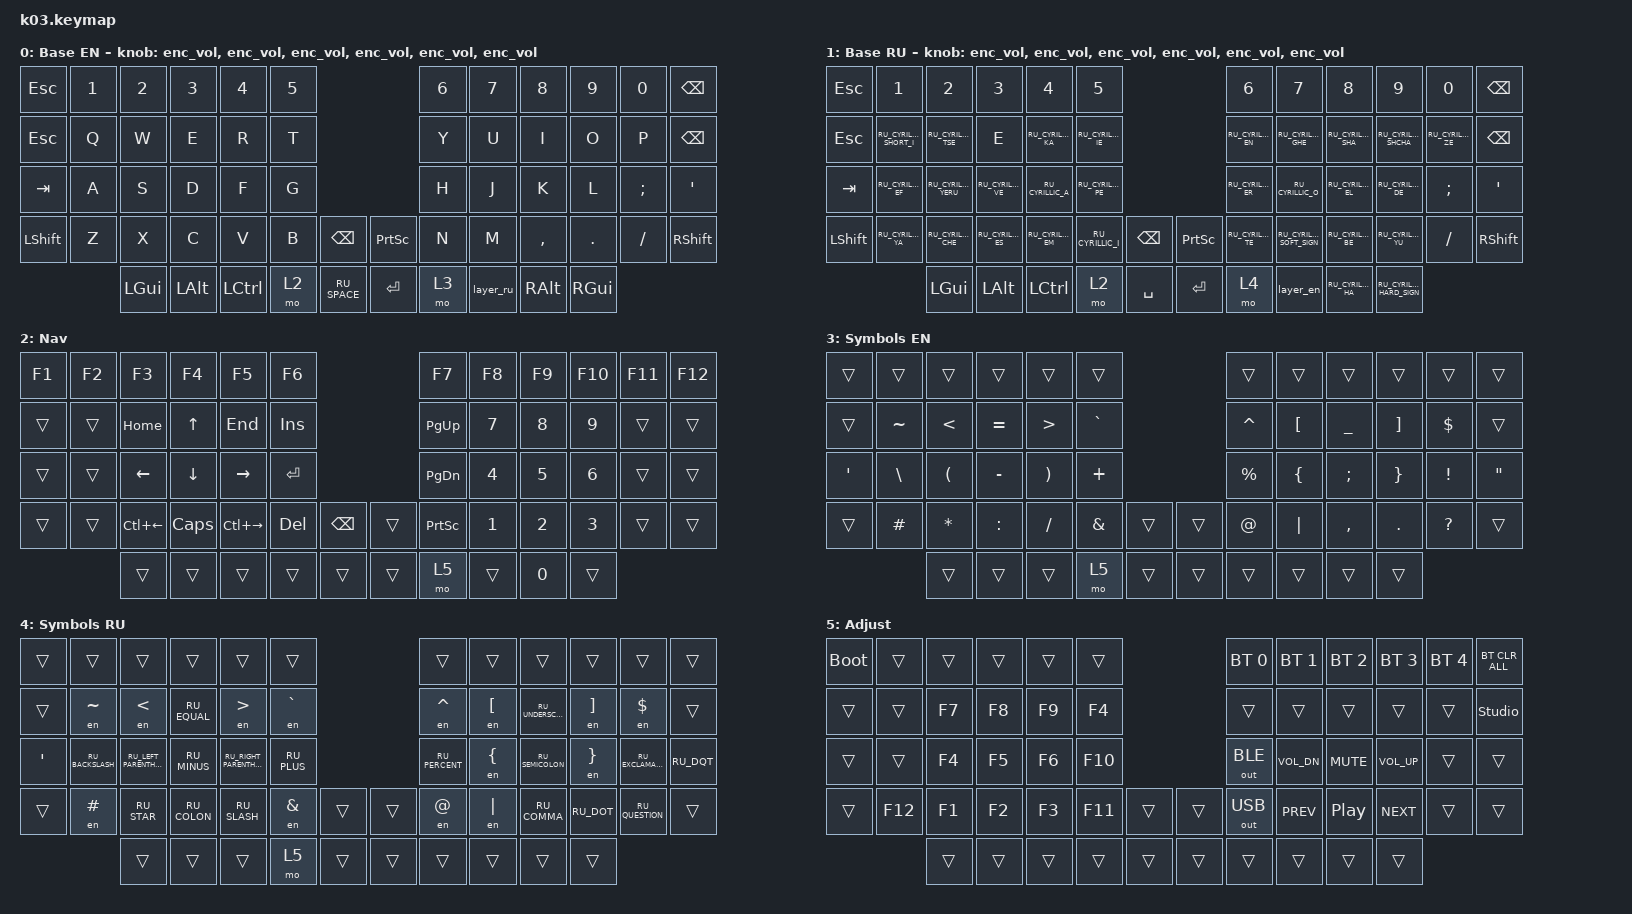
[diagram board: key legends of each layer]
#include "keys_ru.h"
#include <behaviors.dtsi>
#include <dt-bindings/zmk/bt.h>
#include <dt-bindings/zmk/keys.h>
#include <dt-bindings/zmk/outputs.h>

/ {
    behaviors {
        enc_vol: enc_vol {
            compatible = "zmk,behavior-sensor-rotate";
            label = "ENC_VOL";
            #sensor-binding-cells = <0>;
            bindings = <&kp C_VOL_UP>, <&kp C_VOL_DN>;
        };

        en_space: en_space {
            compatible = "zmk,behavior-mod-morph";
            label = "EN_SPACE";
            bindings = <&kp SPACE>, <&layer_en>;

            #binding-cells = <0>;
            mods = <(MOD_LGUI)>;
        };

        ru_space: ru_space {
            compatible = "zmk,behavior-mod-morph";
            label = "RU_SPACE";
            bindings = <&kp SPACE>, <&layer_ru>;

            #binding-cells = <0>;
            mods = <(MOD_LGUI)>;
        };
    };

    macros {
        layer_en: layer_en {
            compatible = "zmk,behavior-macro";
            #binding-cells = <0>;
            bindings = <&to_en &to 0>;
            label = "LAYER_EN";
        };

        layer_ru: layer_ru {
            compatible = "zmk,behavior-macro";
            #binding-cells = <0>;
            bindings = <&to_ru &to 1>;
            label = "LAYER_RU";
        };

        en: to_en {
            compatible = "zmk,behavior-macro-one-param";
            #binding-cells = <1>;
            bindings =
                <&to_en>,
                <&macro_press>,
                <&macro_param_1to1 &kp MACRO_PLACEHOLDER>,
                <&macro_pause_for_release>,
                <&macro_release>,
                <&macro_param_1to1 &kp MACRO_PLACEHOLDER>,
                <&macro_tap>,
                <&to_ru>;

            label = "TO_EN";
        };

        to_en: lg_tog {
            compatible = "zmk,behavior-macro";
            #binding-cells = <0>;
            bindings = <&kp LS(LC(N1))>;
            label = "LG_TOG";
        };

        to_ru: to_ru {
            compatible = "zmk,behavior-macro";
            #binding-cells = <0>;
            bindings = <&kp LS(LC(NUMBER_2))>;
            label = "TO_RU";
        };
    };

    keymap {
        compatible = "zmk,keymap";

        en {
            bindings = <
&kp ESC    &kp N1  &kp N2    &kp N3    &kp N4     &kp N5                                    &kp N6  &kp N7     &kp N8     &kp N9    &kp N0    &kp BSPC
&kp ESC    &kp Q   &kp W     &kp E     &kp R      &kp T                                     &kp Y   &kp U      &kp I      &kp O     &kp P     &kp BACKSPACE
&kp TAB    &kp A   &kp S     &kp D     &kp F      &kp G                                     &kp H   &kp J      &kp K      &kp L     &kp SEMI  &kp SQT
&kp LSHFT  &kp Z   &kp X     &kp C     &kp V      &kp B   &kp BACKSPACE    &kp PRINTSCREEN  &kp N   &kp M      &kp COMMA  &kp DOT   &kp FSLH  &kp RSHFT
                   &kp LGUI  &kp LALT  &kp LCTRL  &mo 2   &kp RU_SPACE     &kp ENTER        &mo 3   &layer_ru  &kp RALT   &kp RGUI
            >;

            display-name = "Base EN";
            sensor-bindings =
                <&enc_vol>,
                <&enc_vol>,
                <&enc_vol>,
                <&enc_vol>,
                <&enc_vol>,
                <&enc_vol>;
        };

        ru {
            display-name = "Base RU";
            bindings = <
&kp ESC    &kp N1                   &kp N2                &kp N3              &kp N4              &kp N5                                                &kp N6              &kp N7                     &kp N8               &kp N9                     &kp N0              &kp BSPC
&kp ESC    &kp RU_CYRILLIC_SHORT_I  &kp RU_CYRILLIC_TSE   &kp E               &kp RU_CYRILLIC_KA  &kp RU_CYRILLIC_IE                                    &kp RU_CYRILLIC_EN  &kp RU_CYRILLIC_GHE        &kp RU_CYRILLIC_SHA  &kp RU_CYRILLIC_SHCHA      &kp RU_CYRILLIC_ZE  &kp BACKSPACE
&kp TAB    &kp RU_CYRILLIC_EF       &kp RU_CYRILLIC_YERU  &kp RU_CYRILLIC_VE  &kp RU_CYRILLIC_A   &kp RU_CYRILLIC_PE                                    &kp RU_CYRILLIC_ER  &kp RU_CYRILLIC_O          &kp RU_CYRILLIC_EL   &kp RU_CYRILLIC_DE         &kp SEMI            &kp SQT
&kp LSHFT  &kp RU_CYRILLIC_YA       &kp RU_CYRILLIC_CHE   &kp RU_CYRILLIC_ES  &kp RU_CYRILLIC_EM  &kp RU_CYRILLIC_I   &kp BACKSPACE    &kp PRINTSCREEN  &kp RU_CYRILLIC_TE  &kp RU_CYRILLIC_SOFT_SIGN  &kp RU_CYRILLIC_BE   &kp RU_CYRILLIC_YU         &kp FSLH            &kp RSHFT
                                    &kp LGUI              &kp LALT            &kp LCTRL           &mo 2               &kp SPACE        &kp ENTER        &mo 4               &layer_en                  &kp RU_CYRILLIC_HA   &kp RU_CYRILLIC_HARD_SIGN
            >;

            sensor-bindings =
                <&enc_vol>,
                <&enc_vol>,
                <&enc_vol>,
                <&enc_vol>,
                <&enc_vol>,
                <&enc_vol>;
        };

        nav {
            bindings = <
&kp F1  &kp F2  &kp F3        &kp F4    &kp F5         &kp F6                            &kp F7           &kp F8  &kp F9  &kp F10  &kp F11  &kp F12
&trans  &trans  &kp HOME      &kp UP    &kp END        &kp INS                           &kp PG_UP        &kp N7  &kp N8  &kp N9   &trans   &trans
&trans  &trans  &kp LEFT      &kp DOWN  &kp RIGHT      &kp RET                           &kp PG_DN        &kp N4  &kp N5  &kp N6   &trans   &trans
&trans  &trans  &kp LC(LEFT)  &kp CAPS  &kp LC(RIGHT)  &kp DEL  &kp BACKSPACE    &trans  &kp PRINTSCREEN  &kp N1  &kp N2  &kp N3   &trans   &trans
                &trans        &trans    &trans         &trans   &trans           &trans  &mo 5            &trans  &kp N0  &trans
            >;

            display-name = "Nav";
        };

        sym_en {
            bindings = <
&trans            &trans     &trans    &trans     &trans    &trans                           &trans       &trans    &trans     &trans    &trans      &trans
&trans            &kp TILDE  &kp LT    &kp EQUAL  &kp GT    &kp GRAVE                        &kp CARET    &kp LBKT  &kp UNDER  &kp RBKT  &kp DOLLAR  &trans
&kp SINGLE_QUOTE  &kp BSLH   &kp LPAR  &kp MINUS  &kp RPAR  &kp PLUS                         &kp PRCNT    &kp LBRC  &kp SEMI   &kp RBRC  &kp EXCL    &kp DQT
&trans            &kp HASH   &kp STAR  &kp COLON  &kp FSLH  &kp AMPERSAND  &trans    &trans  &kp AT_SIGN  &kp PIPE  &kp COMMA  &kp DOT   &kp QMARK   &trans
                             &trans    &trans     &trans    &mo 5          &trans    &trans  &trans       &trans    &trans     &trans
            >;

            display-name = "Symbols EN";
        };

        sym_ru {
            display-name = "Symbols RU";
            bindings = <
&trans            &trans            &trans                   &trans        &trans                    &trans                           &trans          &trans    &trans             &trans      &trans              &trans
&trans            &en TILDE         &en LT                   &kp RU_EQUAL  &en GT                    &en GRAVE                        &en CARET       &en LBKT  &kp RU_UNDERSCORE  &en RBKT    &en DOLLAR          &trans
&kp SINGLE_QUOTE  &kp RU_BACKSLASH  &kp RU_LEFT_PARENTHESIS  &kp RU_MINUS  &kp RU_RIGHT_PARENTHESIS  &kp RU_PLUS                      &kp RU_PERCENT  &en LBRC  &kp RU_SEMICOLON   &en RBRC    &kp RU_EXCLAMATION  &kp RU_DQT
&trans            &en HASH          &kp RU_STAR              &kp RU_COLON  &kp RU_SLASH              &en AMPERSAND  &trans    &trans  &en AT_SIGN     &en PIPE  &kp RU_COMMA       &kp RU_DOT  &kp RU_QUESTION     &trans
                                    &trans                   &trans        &trans                    &mo 5          &trans    &trans  &trans          &trans    &trans             &trans
            >;
        };

        adj {
            bindings = <
&bootloader  &trans   &trans  &trans  &trans  &trans                     &bt BT_SEL 0  &bt BT_SEL 1  &bt BT_SEL 2      &bt BT_SEL 3  &bt BT_SEL 4  &bt BT_CLR_ALL
&trans       &trans   &kp F7  &kp F8  &kp F9  &kp F4                     &trans        &trans        &trans            &trans        &trans        &studio_unlock
&trans       &trans   &kp F4  &kp F5  &kp F6  &kp F10                    &out OUT_BLE  &kp C_VOL_DN  &kp C_MUTE        &kp C_VOL_UP  &trans        &trans
&trans       &kp F12  &kp F1  &kp F2  &kp F3  &kp F11  &trans    &trans  &out OUT_USB  &kp C_PREV    &kp C_PLAY_PAUSE  &kp C_NEXT    &trans        &trans
                      &trans  &trans  &trans  &trans   &trans    &trans  &trans        &trans        &trans            &trans
            >;

            display-name = "Adjust";
        };
    };
};
